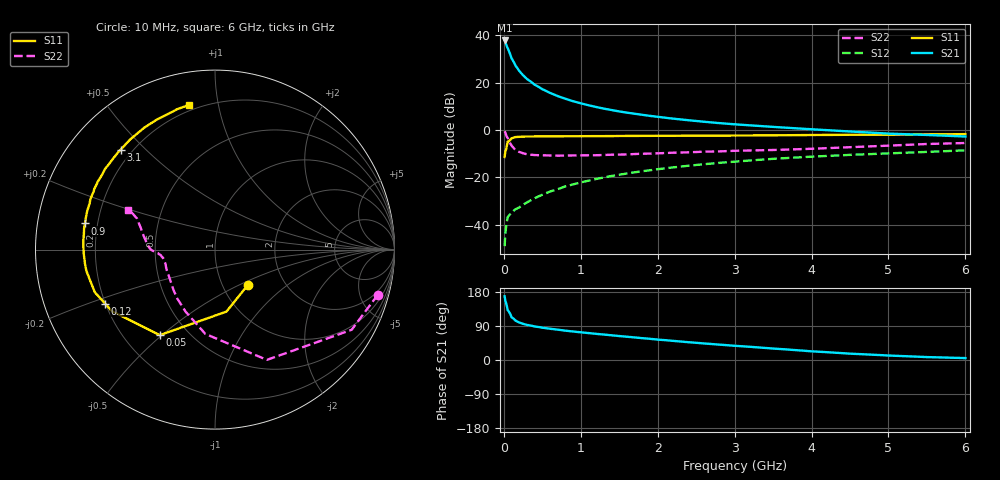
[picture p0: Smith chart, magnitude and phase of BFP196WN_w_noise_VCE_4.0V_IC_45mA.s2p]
! Infineon Technologies  Discrete & RF Semiconductors
! BFP196WN
! VCE =  4.0 V,  IC =  45 mA
! Common Emitter S-Parameters:  Jan 2017
# GHz  S  MA  R  50
!  f  S11  S21  S12  S22
! GHz  MAG  ANG  MAG  ANG  MAG  ANG  MAG  ANG
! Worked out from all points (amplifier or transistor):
!   77 points, 10 MHz to 6 GHz, reference 50 ohm
!   highest |S21| = 37.9 dB at 10 MHz (marker M1)
!   |S21| within 3 dB of that: start of sweep to 46.57 MHz
!   unconditionally stable (mu >= 1): 646.4 MHz to 2.722 GHz
!   at 130 MHz: K = 0.53, MSG = 31.4 dB, |S12| = -34.1 dB
!   at 2.2 GHz: K = 1.02, MAG = 9.4 dB, |S12| = -15.8 dB
!   at 6 GHz: K = 0.92, MSG = 2.9 dB, |S12| = -8.6 dB
!   lowest NFmin = 1.22 dB at 450 MHz
!   S11 on the Smith chart (normalised r, x): 10 MHz: 1.31, -0.56; 50 MHz: 0.35, -0.49; 120 MHz: 0.20, -0.22; 900 MHz: 0.15, +0.10; 3.1 GHz: 0.16, +0.42; 6 GHz: 0.17, +0.82
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0.01  0.2692 -47.7  78.35 168.1  0.0035 79.3  0.9416 -15.5
0.02  0.3511 -79.5  71.77 156.0  0.0066 75.4  0.8828 -30.4
0.05  0.5671 -122.8  53.92 131.5  0.0144 53.9  0.6789 -64.8
0.1  0.6685 -149.1  33 112.9  0.0179 48.5  0.4726 -96.6
0.12  0.682 -153.8  29.05 110.1  0.0191 48.0  0.4311 -103.2
0.15  0.7104 -160.4  23.32 104.2  0.021 47.3  0.3822 -115.4
0.2  0.7176 -166.6  17.79 99.0  0.0231 51.5  0.3443 -127.7
0.25  0.7264 -170.7  14.37 95.4  0.0264 53.8  0.3225 -135.8
0.3  0.7286 -173.8  12.04 92.7  0.0294 57.1  0.3073 -142.4
0.4  0.732 -178.5  9.121 88.5  0.036 61.2  0.2958 -150.6
0.5  0.7338 178.3  7.308 85.3  0.0428 63.6  0.2923 -156.4
0.6  0.7356 175.6  6.105 82.5  0.0501 64.6  0.2897 -160.5
0.7  0.7356 173.1  5.227 80.0  0.0561 66.7  0.2872 -163.4
0.9  0.7386 168.6  4.066 75.2  0.0708 67.5  0.2901 -167.0
1.1  0.7421 164.9  3.342 71.1  0.0849 67.8  0.2923 -170.1
1.3  0.7437 161.4  2.837 67.2  0.099 67.1  0.2967 -171.7
1.5  0.7485 158.1  2.473 63.2  0.1135 66.3  0.3026 -174.0
2.1  0.7544 148.4  1.821 52.3  0.1552 62.8  0.3266 -177.2
3.1  0.7658 133.4  1.288 36.2  0.2207 54.9  0.3667 178.2
4.1  0.7861 119.1  1.016 21.8  0.2783 46.3  0.4073 168.5
5.1  0.8018 108.2  0.829 11.0  0.3255 38.9  0.4752 157.8
6  0.8188 100.3  0.729 5.0  0.3721 32.8  0.5317 155.3
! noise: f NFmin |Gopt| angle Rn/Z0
0.45  1.22  0.52  -178  0.05
0.9  1.34  0.55  -172  0.05
1.9  2.26  0.68  -148  0.14
2.4  2.99  0.69  -141  0.27
